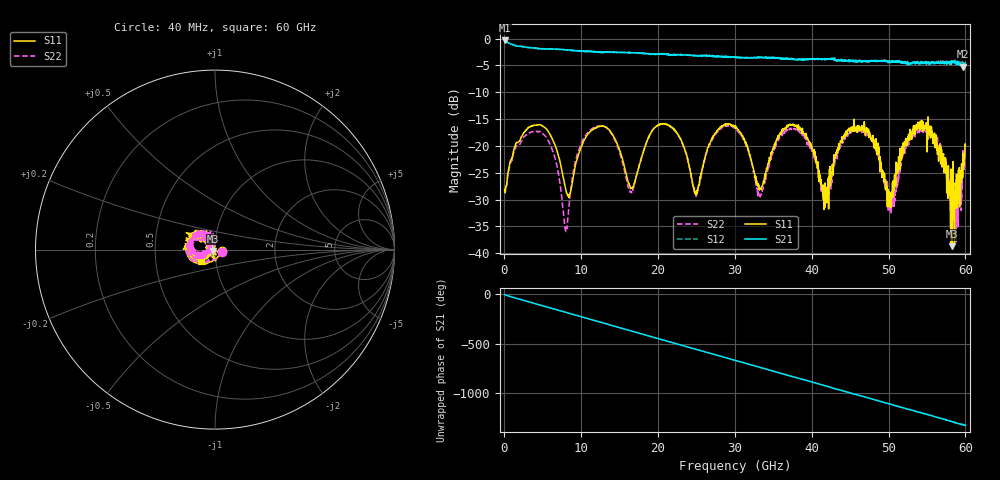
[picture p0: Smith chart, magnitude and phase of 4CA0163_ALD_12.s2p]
! File created by 'SoftPlot +Plus+ Measurement Management Software'
! SoftPlot +Plus+ Measurement Management Software
! Start 40.000000 MHz  Stop 60.000000 GHz  Points 1601
# MHZ S RI R 50
! S-Parameter data, F S11 S21 S12 S22
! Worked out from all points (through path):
!   1601 points, 40 MHz to 60 GHz, reference 50 ohm
!   highest |S21| = -0.36 dB at 40 MHz (marker M1); lowest = -5.2 dB at 59.66 GHz (marker M2)
!   group delay of S21, straight-line fit = 61 ps
!   lowest |S11| = -38.7 dB at 58.28 GHz (marker M3), VSWR 1.02, Z = 49.1 - j0.694 ohm
!   |S11| at or under -10 dB: start of sweep to end of sweep
!   |S22| runs from -37.9 to -15.8 dB; largest |S21 - S12| = 0.064
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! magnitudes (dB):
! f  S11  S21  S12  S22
! 40 MHz  -28.1  -0.4  -0.4  -28.3
! 4.762 GHz  -16.1  -1.9  -1.9  -17.5
! 6.598 GHz  -19.9  -2.0  -2.0  -22.3
! 8.022 GHz  -28.2  -2.1  -2.1  -36.0
! 10.05 GHz  -20.0  -2.4  -2.4  -19.4
! 13.46 GHz  -16.7  -2.5  -2.5  -16.9
! 16.49 GHz  -27.9  -2.6  -2.6  -28.5
! 20.05 GHz  -16.2  -2.9  -2.9  -16.1
! 24.92 GHz  -28.9  -3.2  -3.2  -29.0
! 27.13 GHz  -18.2  -3.2  -3.3  -18.5
! 30.02 GHz  -16.2  -3.5  -3.4  -16.7
! 33.24 GHz  -28.1  -3.5  -3.5  -29.5
! 36.69 GHz  -16.6  -3.8  -3.7  -17.1
! 40.03 GHz  -20.4  -3.8  -3.9  -21.0
! 41.9 GHz  -27.7  -3.8  -3.9  -29.4
! 43.96 GHz  -18.3  -4.2  -4.1  -19.4
! 46.66 GHz  -16.4  -4.3  -4.3  -17.2
! 50.03 GHz  -31.3  -4.3  -4.3  -30.3
! 54.42 GHz  -17.3  -4.6  -4.6  -17.1
! 58.28 GHz  -38.7  -4.3  -4.3  -30.6
! 59.66 GHz  -25.4  -5.2  -4.8  -20.9
! 60 GHz  -19.9  -4.7  -5.1  -20.9
